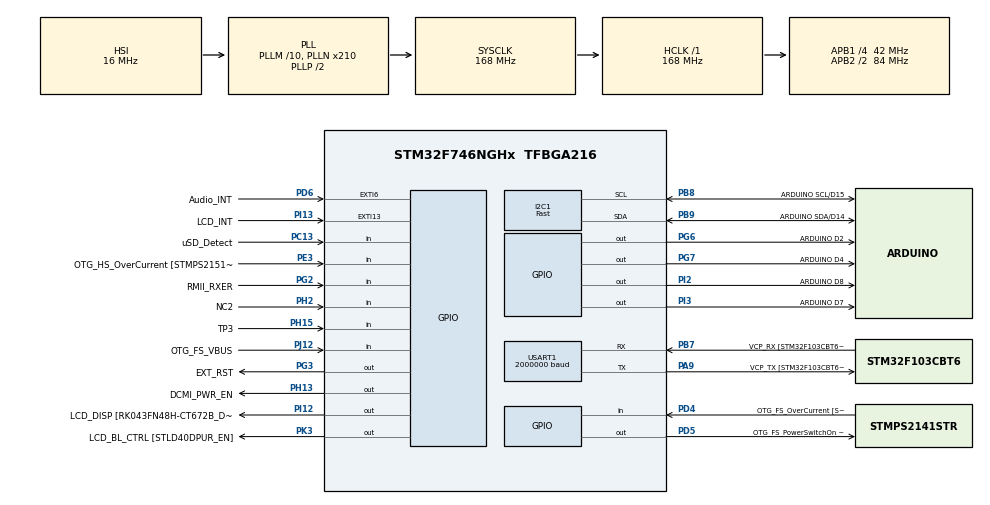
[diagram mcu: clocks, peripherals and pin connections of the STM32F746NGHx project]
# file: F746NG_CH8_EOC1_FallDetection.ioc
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I2C1.I2C_Speed_Mode=I2C_Fast
I2C1.Timing=0x0040154A
Mcu.Family=STM32F7
Mcu.Name=STM32F746NGHx
Mcu.Package=TFBGA216
NVIC.PriorityGroup=NVIC_PRIORITYGROUP_4
NVIC.TIM2_IRQn=true\:1\:0\:true\:false\:true\:true\:true
PA0/WKUP.GPIO_Label=ARDUINO A0
PA0/WKUP.GPIO_Mode=GPIO_MODE_ANALOG
PA0/WKUP.GPIO_PuPd=GPIO_NOPULL
PA0/WKUP.Signal=ADCx_IN0
PA1.GPIO_Label=RMII_REF_CLK [LAN8742A-CZ-TR_REFCLK0]
PA1.Signal=ETH_REF_CLK
PA10.GPIO_Label=OTG_FS_ID
PA10.Signal=USB_OTG_FS_ID
PA11.GPIO_Label=OTG_FS_N
PA11.Signal=USB_OTG_FS_DM
PA12.GPIO_Label=OTG_FS_P
PA12.Signal=USB_OTG_FS_DP
PA13.GPIO_Label=SWDIO
PA13.Signal=SYS_JTMS-SWDIO
PA14.GPIO_Label=SWCLK
PA14.Signal=SYS_JTCK-SWCLK
PA15.GPIO_Label=ARDUINO PWM/D9
PA15.GPIO_ModeDefaultPP=GPIO_MODE_AF_PP
PA15.GPIO_PuPd=GPIO_NOPULL
PA15.GPIO_Speed=GPIO_SPEED_FREQ_LOW
PA15.Signal=S_TIM2_CH1_ETR
PA2.GPIO_Label=RMII_MDIO [LAN8742A-CZ-TR_MDIO]
PA2.Signal=ETH_MDIO
PA3.GPIO_Label=ULPI_D0 [USB3320C-EZK_D0]
PA3.Signal=USB_OTG_HS_ULPI_D0
PA4.GPIO_Label=DCMI_HSYNC
PA4.Signal=DCMI_HSYNC
PA5.GPIO_Label=ULPI_CLK [USB3320C-EZK_CLKOUT]
PA5.Signal=USB_OTG_HS_ULPI_CK
PA6.Signal=DCMI_PIXCLK
PA7.GPIO_Label=RMII_CRS_DV [LAN8742A-CZ-TR_CRS_DV]
PA7.Signal=ETH_CRS_DV
PA8.GPIO_Label=ARDUINO PWM/D10
PA8.GPIO_ModeDefaultPP=GPIO_MODE_AF_PP
PA8.GPIO_PuPd=GPIO_NOPULL
PA8.GPIO_Speed=GPIO_SPEED_FREQ_LOW
PA8.Signal=S_TIM1_CH1
PA9.GPIO_Label=VCP_TX [STM32F103CBT6_PA3]
PA9.GPIO_Mode=GPIO_MODE_AF_PP
PA9.GPIO_PuPd=GPIO_NOPULL
PA9.GPIO_Speed=GPIO_SPEED_FREQ_LOW
PA9.Mode=Asynchronous
PA9.Signal=USART1_TX
PB0.GPIO_Label=ULPI_D1 [USB3320C-EZK_D1]
PB0.Signal=USB_OTG_HS_ULPI_D1
PB1.GPIO_Label=ULPI_D2 [USB3320C-EZK_D2]
PB1.Signal=USB_OTG_HS_ULPI_D2
PB10.GPIO_Label=ULPI_D3 [USB3320C-EZK_D3]
PB10.Signal=USB_OTG_HS_ULPI_D3
PB11.GPIO_Label=ULPI_D4 [USB3320C-EZK_D4]
PB11.Signal=USB_OTG_HS_ULPI_D4
PB12.GPIO_Label=ULPI_D5 [USB3320C-EZK_D5]
PB12.Signal=USB_OTG_HS_ULPI_D5
PB13.GPIO_Label=ULPI_D6 [USB3320C-EZK_D6]
PB13.Signal=USB_OTG_HS_ULPI_D6
PB14.GPIO_Label=ARDUINO MISO/D12
PB14.GPIO_Mode=GPIO_MODE_AF_PP
PB14.GPIO_PuPd=GPIO_NOPULL
PB14.GPIO_Speed=GPIO_SPEED_FREQ_LOW
PB14.Signal=SPI2_MISO
PB15.GPIO_Label=ARDUINO MOSI/PWM/D11
PB15.GPIO_Mode=GPIO_MODE_AF_PP
PB15.GPIO_PuPd=GPIO_NOPULL
PB15.GPIO_Speed=GPIO_SPEED_FREQ_LOW
PB15.Signal=SPI2_MOSI
PB2.Signal=QUADSPI_CLK
PB3.GPIO_Label=SWO
PB3.Signal=SYS_JTDO-SWO
PB4.GPIO_Label=ARDUINO PWM/D3
PB4.GPIO_ModeDefaultPP=GPIO_MODE_AF_PP
PB4.GPIO_PuPd=GPIO_NOPULL
PB4.GPIO_Speed=GPIO_SPEED_FREQ_LOW
PB4.Signal=S_TIM3_CH1
PB5.GPIO_Label=ULPI_D7 [USB3320C-EZK_D7]
PB5.Signal=USB_OTG_HS_ULPI_D7
PB6.GPIO_Label=QSPI_NCS [N25Q128A13EF840E_S]
PB6.Signal=QUADSPI_BK1_NCS
PB7.GPIO_Label=VCP_RX [STM32F103CBT6_PA2]
PB7.GPIO_Mode=GPIO_MODE_AF_PP
PB7.GPIO_PuPd=GPIO_NOPULL
PB7.GPIO_Speed=GPIO_SPEED_FREQ_LOW
PB7.Mode=Asynchronous
PB7.Signal=USART1_RX
PB8.GPIO_Label=ARDUINO SCL/D15
PB8.GPIO_Mode=GPIO_MODE_AF_OD
PB8.GPIO_PuPd=GPIO_NOPULL
PB8.GPIO_Speed=GPIO_SPEED_FREQ_LOW
PB8.Mode=I2C
PB8.Signal=I2C1_SCL
PB9.GPIO_Label=ARDUINO SDA/D14
PB9.GPIO_Mode=GPIO_MODE_AF_OD
PB9.GPIO_PuPd=GPIO_NOPULL
PB9.GPIO_Speed=GPIO_SPEED_FREQ_LOW
PB9.Mode=I2C
PB9.Signal=I2C1_SDA
PC0.GPIO_Label=ULPI_STP [USB3320C-EZK_STP]
PC0.Signal=USB_OTG_HS_ULPI_STP
PC1.GPIO_Label=RMII_MDC [LAN8742A-CZ-TR_MDC]
PC1.Signal=ETH_MDC
PC10.GPIO_Label=SDMMC_D2
PC10.Signal=SDMMC1_D2
PC11.GPIO_Label=SDMMC_D3
PC11.Signal=SDMMC1_D3
PC12.GPIO_Label=SDMMC_CK
PC12.Signal=SDMMC1_CK
PC13.GPIO_Label=uSD_Detect
PC13.Signal=GPIO_Input
PC14/OSC32_IN.GPIO_Label=RCC_OSC32_IN
PC14/OSC32_IN.Signal=RCC_OSC32_IN
PC15/OSC32_OUT.GPIO_Label=RCC_OSC32_OUT
PC15/OSC32_OUT.Signal=RCC_OSC32_OUT
PC2.GPIO_Label=ULPI_DIR [USB3320C-EZK_DIR]
PC2.Signal=USB_OTG_HS_ULPI_DIR
PC3.GPIO_Label=FMC_SDCKE0 [MT48LC4M32B2B5-6A_CKE]
PC3.Signal=FMC_SDCKE0
PC4.GPIO_Label=RMII_RXD0 [LAN8742A-CZ-TR_RXD0]
PC4.Signal=ETH_RXD0
PC5.GPIO_Label=RMII_RXD1 [LAN8742A-CZ-TR_RXD1]
PC5.Signal=ETH_RXD1
PC6.GPIO_Label=ARDUINO TX/D1
PC6.Signal=USART6_TX
PC7.GPIO_Label=ARDUINO RX/D0
PC7.Signal=USART6_RX
PC8.Signal=SDMMC1_D0
PC9.Signal=SDMMC1_D1
PD0.GPIO_Label=FMC_D2 [MT48LC4M32B2B5-6A_DQ2]
PD0.Signal=FMC_D2_DA2
PD1.GPIO_Label=FMC_D3 [MT48LC4M32B2B5-6A_DQ3]
PD1.Signal=FMC_D3_DA3
PD10.GPIO_Label=FMC_D15 [MT48LC4M32B2B5-6A_DQ15]
PD10.Signal=FMC_D15_DA15
PD11.GPIO_Label=QSPI_D0 [N25Q128A13EF840E_DQ0]
PD11.Signal=QUADSPI_BK1_IO0
PD12.GPIO_Label=QSPI_D1 [N25Q128A13EF840E_DQ1]
PD12.Signal=QUADSPI_BK1_IO1
PD13.GPIO_Label=QSPI_D3 [N25Q128A13EF840E_DQ3]
PD13.Signal=QUADSPI_BK1_IO3
PD14.GPIO_Label=FMC_D0 [MT48LC4M32B2B5-6A_DQ0]
PD14.Signal=FMC_D0_DA0
PD15.GPIO_Label=FMC_D1 [MT48LC4M32B2B5-6A_DQ1]
PD15.Signal=FMC_D1_DA1
PD2.GPIO_Label=SDMMC_D0
PD2.Signal=SDMMC1_CMD
PD3.GPIO_Label=DCMI_D5
PD3.Signal=DCMI_D5
PD4.GPIO_Label=OTG_FS_OverCurrent [STMPS2141STR_Fault]
PD4.Signal=GPIO_Input
PD5.GPIO_Label=OTG_FS_PowerSwitchOn [STMPS2141STR_EN]
PD5.PinState=GPIO_PIN_SET
PD5.Signal=GPIO_Output
PD6.GPIO_Label=Audio_INT
PD6.GPIO_ModeDefaultEXTI=GPIO_MODE_EVT_RISING
PD6.Signal=GPXTI6
PD7.GPIO_Label=SPDIF_RX0 [74LVC1G04SE_4]
PD7.Signal=SPDIFRX_IN0
PD8.GPIO_Label=FMC_D13 [MT48LC4M32B2B5-6A_DQ13]
PD8.Signal=FMC_D13_DA13
PD9.GPIO_Label=FMC_D14 [MT48LC4M32B2B5-6A_DQ14]
PD9.Signal=FMC_D14_DA14
PE0.GPIO_Label=FMC_NBL0 [MT48LC4M32B2B5-6A_DQM0]
PE0.Signal=FMC_NBL0
PE1.GPIO_Label=FMC_NBL1 [MT48LC4M32B2B5-6A_DQM1]
PE1.Signal=FMC_NBL1
PE10.GPIO_Label=FMC_D7 [MT48LC4M32B2B5-6A_DQ7]
PE10.Signal=FMC_D7_DA7
PE11.GPIO_Label=FMC_D8 [MT48LC4M32B2B5-6A_DQ8]
PE11.Signal=FMC_D8_DA8
PE12.GPIO_Label=FMC_D9 [MT48LC4M32B2B5-6A_DQ9]
PE12.Signal=FMC_D9_DA9
PE13.GPIO_Label=FMC_D10 [MT48LC4M32B2B5-6A_DQ10]
PE13.Signal=FMC_D10_DA10
PE14.GPIO_Label=FMC_D11 [MT48LC4M32B2B5-6A_DQ11]
PE14.Signal=FMC_D11_DA11
PE15.GPIO_Label=FMC_D12 [MT48LC4M32B2B5-6A_DQ12]
PE15.Signal=FMC_D12_DA12
PE2.GPIO_Label=QSPI_D2 [N25Q128A13EF840E_DQ2]
PE2.Signal=QUADSPI_BK1_IO2
PE3.GPIO_Label=OTG_HS_OverCurrent [STMPS2151STR_FAULT]
PE3.Signal=GPIO_Input
PE4.GPIO_Label=LCD_B0 [RK043FN48H-CT672B_B0]
PE4.Signal=LTDC_B0
PE5.GPIO_Label=DCMI_D6
PE5.Signal=DCMI_D6
PE6.GPIO_Label=DCMI_D7
PE6.Signal=DCMI_D7
PE7.GPIO_Label=FMC_D4 [MT48LC4M32B2B5-6A_DQ4]
PE7.Signal=FMC_D4_DA4
PE8.GPIO_Label=FMC_D5 [MT48LC4M32B2B5-6A_DQ5]
PE8.Signal=FMC_D5_DA5
PE9.GPIO_Label=FMC_D6 [MT48LC4M32B2B5-6A_DQ6]
PE9.Signal=FMC_D6_DA6
PF0.GPIO_Label=FMC_A0 [MT48LC4M32B2B5-6A_A0]
PF0.Signal=FMC_A0
PF1.GPIO_Label=FMC_A1 [MT48LC4M32B2B5-6A_A1]
PF1.Signal=FMC_A1
PF10.GPIO_Label=ARDUINO A1
PF10.GPIO_Mode=GPIO_MODE_ANALOG
PF10.GPIO_PuPd=GPIO_NOPULL
PF10.Signal=ADC3_IN8
PF11.GPIO_Label=FMC_SDNRAS [MT48LC4M32B2B5-6A_RAS]
PF11.Signal=FMC_SDNRAS
PF12.GPIO_Label=FMC_A6 [MT48LC4M32B2B5-6A_A6]
PF12.Signal=FMC_A6
PF13.GPIO_Label=FMC_A7 [MT48LC4M32B2B5-6A_A7]
PF13.Signal=FMC_A7
PF14.GPIO_Label=FMC_A8 [MT48LC4M32B2B5-6A_A8]
PF14.Signal=FMC_A8
PF15.GPIO_Label=FMC_A9 [MT48LC4M32B2B5-6A_A9]
PF15.Signal=FMC_A9
PF2.GPIO_Label=FMC_A2 [MT48LC4M32B2B5-6A_A2]
PF2.Signal=FMC_A2
PF3.GPIO_Label=FMC_A3 [MT48LC4M32B2B5-6A_A3]
PF3.Signal=FMC_A3
PF4.GPIO_Label=FMC_A4 [MT48LC4M32B2B5-6A_A4]
PF4.Signal=FMC_A4
PF5.GPIO_Label=FMC_A5 [MT48LC4M32B2B5-6A_A5]
PF5.Signal=FMC_A5
PF6.GPIO_Label=ARDUINO A5
PF6.GPIO_Mode=GPIO_MODE_ANALOG
PF6.GPIO_PuPd=GPIO_NOPULL
PF6.Signal=ADC3_IN4
PF7.GPIO_Label=ARDUINO A4
PF7.GPIO_Mode=GPIO_MODE_ANALOG
PF7.GPIO_PuPd=GPIO_NOPULL
PF7.Signal=ADC3_IN5
PF8.GPIO_Label=ARDUINO A3
PF8.GPIO_Mode=GPIO_MODE_ANALOG
PF8.GPIO_PuPd=GPIO_NOPULL
PF8.Signal=ADC3_IN6
PF9.GPIO_Label=ARDUINO A2
PF9.GPIO_Mode=GPIO_MODE_ANALOG
PF9.GPIO_PuPd=GPIO_NOPULL
PF9.Signal=ADC3_IN7
PG0.GPIO_Label=FMC_A10 [MT48LC4M32B2B5-6A_A10]
PG0.Signal=FMC_A10
PG1.GPIO_Label=FMC_A11 [MT48LC4M32B2B5-6A_A11]
PG1.Signal=FMC_A11
PG10.GPIO_Label=SAI2_SDB [WM8994ECS/R_ADCDAT1]
PG10.Signal=SAI2_SD_B
PG11.GPIO_Label=RMII_TX_EN [LAN8742A-CZ-TR_TXEN]
PG11.Signal=ETH_TX_EN
PG12.GPIO_Label=LCD_B4 [RK043FN48H-CT672B_B4]
PG12.Signal=LTDC_B4
PG13.GPIO_Label=RMII_TXD0 [LAN8742A-CZ-TR_TXD0]
PG13.Signal=ETH_TXD0
PG14.GPIO_Label=RMII_TXD1 [LAN8742A-CZ-TR_TXD1]
PG14.Signal=ETH_TXD1
PG15.GPIO_Label=FMC_SDNCAS [MT48LC4M32B2B5-6A_CAS]
PG15.Signal=FMC_SDNCAS
PG2.GPIO_Label=RMII_RXER
PG2.Signal=GPIO_Input
PG3.GPIO_Label=EXT_RST
PG3.Signal=GPIO_Output
PG4.GPIO_Label=FMC_BA0 [MT48LC4M32B2B5-6A_BA0]
PG4.Signal=FMC_A14_BA0
PG5.GPIO_Label=FMC_BA1 [MT48LC4M32B2B5-6A_BA1]
PG5.Signal=FMC_A15_BA1
PG6.GPIO_Label=ARDUINO D2
PG6.Signal=GPIO_Output
PG7.GPIO_Label=ARDUINO D4
PG7.Signal=GPIO_Output
PG8.GPIO_Label=FMC_SDCLK [MT48LC4M32B2B5-6A_CLK]
PG8.Signal=FMC_SDCLK
PG9.GPIO_Label=DCMI_VSYNC
PG9.Signal=DCMI_VSYNC
PH0/OSC_IN.GPIO_Label=OSC_25M [NZ2520SB-25.00M_OUT]
PH0/OSC_IN.Signal=RCC_OSC_IN
PH1/OSC_OUT.Signal=RCC_OSC_OUT
PH10.GPIO_Label=DCMI_D1
PH10.Signal=DCMI_D1
PH11.GPIO_Label=DCMI_D2
PH11.Signal=DCMI_D2
PH12.GPIO_Label=DCMI_D3
PH12.Signal=DCMI_D3
PH13.GPIO_Label=DCMI_PWR_EN
PH13.Signal=GPIO_Output
PH14.GPIO_Label=DCMI_D4
PH14.Signal=DCMI_D4
PH15.GPIO_Label=TP3
PH15.Signal=GPIO_Input
PH2.GPIO_Label=NC2
PH2.Signal=GPIO_Input
PH3.GPIO_Label=FMC_SDNE0 [MT48LC4M32B2B5-6A_CS]
PH3.Signal=FMC_SDNE0
PH4.GPIO_Label=ULPI_NXT [USB3320C-EZK_NXT]
PH4.Signal=USB_OTG_HS_ULPI_NXT
PH5.GPIO_Label=FMC_SDNME [MT48LC4M32B2B5-6A_WE]
PH5.Signal=FMC_SDNWE
PH6.GPIO_Label=ARDUINO PWM/D6
PH6.Signal=S_TIM12_CH1
PH7.GPIO_Label=LCD_SCL [RK043FN48H-CT672B_SCL]
PH7.Signal=I2C3_SCL
PH8.GPIO_Label=LCD_SDA [RK043FN48H-CT672B_SDA]
PH8.Signal=I2C3_SDA
PH9.GPIO_Label=DCMI_D0
PH9.Signal=DCMI_D0
PI0.GPIO_Label=ARDUINO PWM/CS/D5
PI0.GPIO_ModeDefaultPP=GPIO_MODE_AF_PP
PI0.GPIO_PuPd=GPIO_NOPULL
PI0.GPIO_Speed=GPIO_SPEED_FREQ_LOW
PI0.Signal=S_TIM5_CH4
PI1.GPIO_Label=ARDUINO SCK/D13
PI1.GPIO_Mode=GPIO_MODE_AF_PP
PI1.GPIO_PuPd=GPIO_NOPULL
PI1.GPIO_Speed=GPIO_SPEED_FREQ_LOW
PI1.Signal=SPI2_SCK
PI10.GPIO_Label=LCD_HSYNC [RK043FN48H-CT672B_HSYNC]
PI10.Signal=LTDC_HSYNC
PI12.GPIO_Label=LCD_DISP [RK043FN48H-CT672B_DISP] 
PI12.Signal=GPIO_Output
PI13.GPIO_Label=LCD_INT
PI13.GPIO_ModeDefaultEXTI=GPIO_MODE_EVT_RISING
PI13.Signal=GPXTI13
PI14.GPIO_Label=LCD_CLK [RK043FN48H-CT672B_CLK]
PI14.Signal=LTDC_CLK
PI15.GPIO_Label=LCD_R0 [RK043FN48H-CT672B_R0]
PI15.Signal=LTDC_R0
PI2.GPIO_Label=ARDUINO D8
PI2.Signal=GPIO_Output
PI3.GPIO_Label=ARDUINO D7
PI3.Signal=GPIO_Output
PI4.GPIO_Label=SAI2_MCLKA [WM8994ECS/R_MCLK1]
PI4.Signal=SAI2_MCLK_A
PI5.GPIO_Label=SAI2_SCKA [WM8994ECS/R_BCLK1]
PI5.Signal=SAI2_SCK_A
PI6.GPIO_Label=SAI2_SDA [WM8994ECS/R_DACDAT1]
PI6.Signal=SAI2_SD_A
PI7.GPIO_Label=SAI2_FSA [WM8994ECS/R_LRCLK1]
PI7.Signal=SAI2_FS_A
PI8.GPIO_Label=NC1 [TP2]
PI8.Signal=RTC_TS
PI9.GPIO_Label=LCD_VSYNC [RK043FN48H-CT672B_VSYNC]
PI9.Signal=LTDC_VSYNC
PJ0.GPIO_Label=LCD_R1 [RK043FN48H-CT672B_R1]
PJ0.Signal=LTDC_R1
PJ1.GPIO_Label=LCD_R2 [RK043FN48H-CT672B_R2]
PJ1.Signal=LTDC_R2
PJ10.GPIO_Label=LCD_G3 [RK043FN48H-CT672B_G3]
PJ10.Signal=LTDC_G3
PJ11.GPIO_Label=LCD_G4 [RK043FN48H-CT672B_G4]
PJ11.Signal=LTDC_G4
PJ12.GPIO_Label=OTG_FS_VBUS
PJ12.Signal=GPIO_Input
PJ13.GPIO_Label=LCD_B1 [RK043FN48H-CT672B_B1]
PJ13.Signal=LTDC_B1
PJ14.GPIO_Label=LCD_B2 [RK043FN48H-CT672B_B2]
PJ14.Signal=LTDC_B2
PJ15.GPIO_Label=LCD_B3 [RK043FN48H-CT672B_B3]
PJ15.Signal=LTDC_B3
PJ2.GPIO_Label=LCD_R3 [RK043FN48H-CT672B_R3]
PJ2.Signal=LTDC_R3
PJ3.GPIO_Label=LCD_R4 [RK043FN48H-CT672B_R4]
PJ3.Signal=LTDC_R4
PJ4.GPIO_Label=LCD_R5 [RK043FN48H-CT672B_R5]
PJ4.Signal=LTDC_R5
PJ5.GPIO_Label=LCD_R6 [RK043FN48H-CT672B_R6]
PJ5.Signal=LTDC_R6
PJ6.GPIO_Label=LCD_R7 [RK043FN48H-CT672B_R7]
PJ6.Signal=LTDC_R7
PJ7.GPIO_Label=LCD_G0 [RK043FN48H-CT672B_G0]
PJ7.Signal=LTDC_G0
PJ8.GPIO_Label=LCD_G1 [RK043FN48H-CT672B_G1]
PJ8.Signal=LTDC_G1
PJ9.GPIO_Label=LCD_G2 [RK043FN48H-CT672B_G2]
PJ9.Signal=LTDC_G2
PK0.GPIO_Label=LCD_G5 [RK043FN48H-CT672B_G5]
PK0.Signal=LTDC_G5
PK1.GPIO_Label=LCD_G6 [RK043FN48H-CT672B_G6]
PK1.Signal=LTDC_G6
PK2.GPIO_Label=LCD_G7 [RK043FN48H-CT672B_G7]
PK2.Signal=LTDC_G7
PK3.GPIO_Label=LCD_BL_CTRL [STLD40DPUR_EN]
PK3.Signal=GPIO_Output
PK4.GPIO_Label=LCD_B5 [RK043FN48H-CT672B_B5]
PK4.Signal=LTDC_B5
PK5.GPIO_Label=LCD_B6 [RK043FN48H-CT672B_B6]
PK5.Signal=LTDC_B6
PK6.GPIO_Label=LCD_B7 [RK043FN48H-CT672B_B7]
PK6.Signal=LTDC_B7
PK7.GPIO_Label=LCD_DE [RK043FN48H-CT672B_DE]
PK7.Signal=LTDC_DE
ProjectManager.HeapSize=0x200
ProjectManager.StackSize=0x400
ProjectManager.TargetToolchain=STM32CubeIDE
RCC.AHBFreq_Value=168000000
RCC.APB1CLKDivider=RCC_HCLK_DIV4
RCC.APB1Freq_Value=42000000
RCC.APB1TimFreq_Value=84000000
RCC.APB2CLKDivider=RCC_HCLK_DIV2
RCC.APB2Freq_Value=84000000
RCC.APB2TimFreq_Value=168000000
RCC.CortexFreq_Value=168000000
RCC.HCLKFreq_Value=168000000
RCC.HSE_VALUE=25000000
RCC.HSI_VALUE=16000000
RCC.LSE_VALUE=32768
RCC.PLLM=10
RCC.PLLN=210
RCC.PLLSourceVirtual=RCC_PLLSOURCE_HSI
RCC.SYSCLKFreq_VALUE=168000000
RCC.SYSCLKSource=RCC_SYSCLKSOURCE_PLLCLK
RCC.USBFreq_Value=168000000
RCC.VCOOutputFreq_Value=336000000
SH.ADCx_IN0.0=ADC3_IN0
SH.FMC_A0.0=FMC_A0
SH.FMC_A1.0=FMC_A1
SH.FMC_A10.0=FMC_A10
SH.FMC_A11.0=FMC_A11
SH.FMC_A14_BA0.0=FMC_BA0
SH.FMC_A15_BA1.0=FMC_BA1
SH.FMC_A2.0=FMC_A2
SH.FMC_A3.0=FMC_A3
SH.FMC_A4.0=FMC_A4
SH.FMC_A5.0=FMC_A5
SH.FMC_A6.0=FMC_A6
SH.FMC_A7.0=FMC_A7
SH.FMC_A8.0=FMC_A8
SH.FMC_A9.0=FMC_A9
SH.FMC_D0_DA0.0=FMC_D0
SH.FMC_D10_DA10.0=FMC_D10
SH.FMC_D11_DA11.0=FMC_D11
SH.FMC_D12_DA12.0=FMC_D12
SH.FMC_D13_DA13.0=FMC_D13
SH.FMC_D14_DA14.0=FMC_D14
SH.FMC_D15_DA15.0=FMC_D15
SH.FMC_D1_DA1.0=FMC_D1
SH.FMC_D2_DA2.0=FMC_D2
SH.FMC_D3_DA3.0=FMC_D3
SH.FMC_D4_DA4.0=FMC_D4
SH.FMC_D5_DA5.0=FMC_D5
SH.FMC_D6_DA6.0=FMC_D6
SH.FMC_D7_DA7.0=FMC_D7
SH.FMC_D8_DA8.0=FMC_D8
SH.FMC_D9_DA9.0=FMC_D9
SH.FMC_NBL0.0=FMC_NBL0
SH.FMC_NBL1.0=FMC_NBL1
SH.FMC_SDCLK.0=FMC_SDCLK
SH.FMC_SDNCAS.0=FMC_SDNCAS
SH.FMC_SDNRAS.0=FMC_SDNRAS
SH.FMC_SDNWE.0=FMC_SDNWE
SH.S_TIM12_CH1.0=TIM12_CH1
SH.S_TIM1_CH1.0=TIM1_CH1
SH.S_TIM2_CH1_ETR.0=TIM2_CH1
SH.S_TIM3_CH1.0=TIM3_CH1
SH.S_TIM5_CH4.0=TIM5_CH4
TIM2.Period=19999
TIM2.Prescaler=83
USART1.BaudRate=2000000
USART1.VirtualMode-Asynchronous=VM_ASYNC
VP_TIM2_VS_ClockSourceINT.Mode=Internal
board=STM32F746G-DISCO

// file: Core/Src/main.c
/* USER CODE BEGIN Header */
/**
  ******************************************************************************
  * @file           : main.c
  * @brief          : Main program body
  ******************************************************************************
  * @attention
  *
  * Copyright (c) 2024 STMicroelectronics.
  * All rights reserved.
  *
  * This software is licensed under terms that can be found in the LICENSE file
  * in the root directory of this software component.
  * If no LICENSE file comes with this software, it is provided AS-IS.
  *
  ******************************************************************************
  */
/* USER CODE END Header */
#include "main.h"

/* USER CODE BEGIN Includes */
#include "lib_bno055.h"
#include "lib_serial.h"
#include "har_feature_extraction.h"
#include "dbscan_clus_inference.h"
/* USER CODE END Includes */

I2C_HandleTypeDef hi2c1;

TIM_HandleTypeDef htim2;

UART_HandleTypeDef huart1;

void SystemClock_Config(void);
static void MX_GPIO_Init(void);
static void MX_I2C1_Init(void);
static void MX_TIM2_Init(void);
static void MX_USART1_UART_Init(void);

/* USER CODE BEGIN 0 */
#define SIZE_INPUT	VECTOR_LEN

HAR_FtrExtOutput features;

volatile uint32_t counter = 0, startTick = 0, stopTick = 0;
volatile uint8_t isDataReady = 0;
float accel[3][SIZE_INPUT] = {0};

void HAL_TIM_PeriodElapsedCallback(TIM_HandleTypeDef *htim)
{
	if (htim->Instance == htim2.Instance)
	{
		float accel_[3] = {0};
		LIB_BNO055_ReadAccelXYZ(&accel_[0], &accel_[1], &accel_[2]);
		for (uint32_t i = 0; i < 3; ++i)
		{
			accel[0][counter] = accel_[0]/100;
			accel[1][counter] = accel_[1]/100;
			accel[2][counter] = accel_[2]/100;
		}
		counter = counter + 1;
		if (counter >= SIZE_INPUT)
		{
			isDataReady = 1;
			counter = 0;
		}

	}
}
/* USER CODE END 0 */

int main(void)
{

  /* MCU Configuration--------------------------------------------------------*/

  /* Reset of all peripherals, Initializes the Flash interface and the Systick. */
  HAL_Init();

  /* Configure the system clock */
  SystemClock_Config();

  /* Initialize all configured peripherals */
  MX_GPIO_Init();
  MX_I2C1_Init();
  MX_TIM2_Init();
  MX_USART1_UART_Init();
  /* USER CODE BEGIN 2 */
  LIB_BNO055_Init();
  HAL_TIM_Base_Start_IT(&htim2);

  /* USER CODE END 2 */

  /* Infinite loop */
  while (1)
  {

    /* USER CODE BEGIN 3 */
	if (isDataReady == 1)
	{
		isDataReady = 0;

		/*RUN INFERENCE ON MCU*/
		har_extract_features(accel, &features);

		/*NORMALIZE FEATURES*/
		for (uint32_t i = 0; i < 10; ++i)
		{
			float32_t *__ftr = (float*)(&features);
			__ftr[i] = (__ftr[i] - MEANS[i])/STDDEV[i] ;

		}

		/*SEND AUDIO DATA TO PC*/
		LIB_SERIAL_Transmit(&features, sizeof(features)/sizeof(float), TYPE_F32);

		/*CLUSTER FEATURES DBSCAN*/
		int32_t output = 0;
		dbscan_clus_predict((float*)&features, &output);

		/*SEND INFERENCE RESULTS TO PC*/
		LIB_SERIAL_Transmit(&output, sizeof(output)/sizeof(float), TYPE_S32);
	}
  }
  /* USER CODE END 3 */
}

void SystemClock_Config(void)
{
  RCC_OscInitTypeDef RCC_OscInitStruct = {0};
  RCC_ClkInitTypeDef RCC_ClkInitStruct = {0};

  /** Configure the main internal regulator output voltage
  */
  __HAL_RCC_PWR_CLK_ENABLE();
  __HAL_PWR_VOLTAGESCALING_CONFIG(PWR_REGULATOR_VOLTAGE_SCALE2);
  /** Initializes the RCC Oscillators according to the specified parameters
  * in the RCC_OscInitTypeDef structure.
  */
  RCC_OscInitStruct.OscillatorType = RCC_OSCILLATORTYPE_HSI;
  RCC_OscInitStruct.HSIState = RCC_HSI_ON;
  RCC_OscInitStruct.HSICalibrationValue = RCC_HSICALIBRATION_DEFAULT;
  RCC_OscInitStruct.PLL.PLLState = RCC_PLL_ON;
  RCC_OscInitStruct.PLL.PLLSource = RCC_PLLSOURCE_HSI;
  RCC_OscInitStruct.PLL.PLLM = 10;
  RCC_OscInitStruct.PLL.PLLN = 210;
  RCC_OscInitStruct.PLL.PLLP = RCC_PLLP_DIV2;
  RCC_OscInitStruct.PLL.PLLQ = 2;
  if (HAL_RCC_OscConfig(&RCC_OscInitStruct) != HAL_OK)
  {
    Error_Handler();
  }
  /** Initializes the CPU, AHB and APB buses clocks
  */
  RCC_ClkInitStruct.ClockType = RCC_CLOCKTYPE_HCLK|RCC_CLOCKTYPE_SYSCLK
                              |RCC_CLOCKTYPE_PCLK1|RCC_CLOCKTYPE_PCLK2;
  RCC_ClkInitStruct.SYSCLKSource = RCC_SYSCLKSOURCE_PLLCLK;
  RCC_ClkInitStruct.AHBCLKDivider = RCC_SYSCLK_DIV1;
  RCC_ClkInitStruct.APB1CLKDivider = RCC_HCLK_DIV4;
  RCC_ClkInitStruct.APB2CLKDivider = RCC_HCLK_DIV2;

  if (HAL_RCC_ClockConfig(&RCC_ClkInitStruct, FLASH_LATENCY_5) != HAL_OK)
  {
    Error_Handler();
  }
}

static void MX_I2C1_Init(void)
{

  hi2c1.Instance = I2C1;
  hi2c1.Init.Timing = 0x0040154A;
  hi2c1.Init.OwnAddress1 = 0;
  hi2c1.Init.AddressingMode = I2C_ADDRESSINGMODE_7BIT;
  hi2c1.Init.DualAddressMode = I2C_DUALADDRESS_DISABLE;
  hi2c1.Init.OwnAddress2 = 0;
  hi2c1.Init.OwnAddress2Masks = I2C_OA2_NOMASK;
  hi2c1.Init.GeneralCallMode = I2C_GENERALCALL_DISABLE;
  hi2c1.Init.NoStretchMode = I2C_NOSTRETCH_DISABLE;
  if (HAL_I2C_Init(&hi2c1) != HAL_OK)
  {
    Error_Handler();
  }
  /** Configure Analogue filter
  */
  if (HAL_I2CEx_ConfigAnalogFilter(&hi2c1, I2C_ANALOGFILTER_ENABLE) != HAL_OK)
  {
    Error_Handler();
  }
  /** Configure Digital filter
  */
  if (HAL_I2CEx_ConfigDigitalFilter(&hi2c1, 0) != HAL_OK)
  {
    Error_Handler();
  }

}

static void MX_TIM2_Init(void)
{

  TIM_ClockConfigTypeDef sClockSourceConfig = {0};
  TIM_MasterConfigTypeDef sMasterConfig = {0};

  htim2.Instance = TIM2;
  htim2.Init.Prescaler = 83;
  htim2.Init.CounterMode = TIM_COUNTERMODE_UP;
  htim2.Init.Period = 19999;
  htim2.Init.ClockDivision = TIM_CLOCKDIVISION_DIV1;
  htim2.Init.AutoReloadPreload = TIM_AUTORELOAD_PRELOAD_DISABLE;
  if (HAL_TIM_Base_Init(&htim2) != HAL_OK)
  {
    Error_Handler();
  }
  sClockSourceConfig.ClockSource = TIM_CLOCKSOURCE_INTERNAL;
  if (HAL_TIM_ConfigClockSource(&htim2, &sClockSourceConfig) != HAL_OK)
  {
    Error_Handler();
  }
  sMasterConfig.MasterOutputTrigger = TIM_TRGO_RESET;
  sMasterConfig.MasterSlaveMode = TIM_MASTERSLAVEMODE_DISABLE;
  if (HAL_TIMEx_MasterConfigSynchronization(&htim2, &sMasterConfig) != HAL_OK)
  {
    Error_Handler();
  }

}

static void MX_USART1_UART_Init(void)
{

  huart1.Instance = USART1;
  huart1.Init.BaudRate = 2000000;
  huart1.Init.WordLength = UART_WORDLENGTH_8B;
  huart1.Init.StopBits = UART_STOPBITS_1;
  huart1.Init.Parity = UART_PARITY_NONE;
  huart1.Init.Mode = UART_MODE_TX_RX;
  huart1.Init.HwFlowCtl = UART_HWCONTROL_NONE;
  huart1.Init.OverSampling = UART_OVERSAMPLING_16;
  huart1.Init.OneBitSampling = UART_ONE_BIT_SAMPLE_DISABLE;
  huart1.AdvancedInit.AdvFeatureInit = UART_ADVFEATURE_NO_INIT;
  if (HAL_UART_Init(&huart1) != HAL_OK)
  {
    Error_Handler();
  }

}

static void MX_GPIO_Init(void)
{
  GPIO_InitTypeDef GPIO_InitStruct = {0};

  /* GPIO Ports Clock Enable */
  __HAL_RCC_GPIOE_CLK_ENABLE();
  __HAL_RCC_GPIOG_CLK_ENABLE();
  __HAL_RCC_GPIOB_CLK_ENABLE();
  __HAL_RCC_GPIOD_CLK_ENABLE();
  __HAL_RCC_GPIOC_CLK_ENABLE();
  __HAL_RCC_GPIOA_CLK_ENABLE();
  __HAL_RCC_GPIOJ_CLK_ENABLE();
  __HAL_RCC_GPIOI_CLK_ENABLE();
  __HAL_RCC_GPIOK_CLK_ENABLE();
  __HAL_RCC_GPIOF_CLK_ENABLE();
  __HAL_RCC_GPIOH_CLK_ENABLE();

  /*Configure GPIO pin Output Level */
  HAL_GPIO_WritePin(OTG_FS_PowerSwitchOn_GPIO_Port, OTG_FS_PowerSwitchOn_Pin, GPIO_PIN_SET);

  /*Configure GPIO pin Output Level */
  HAL_GPIO_WritePin(GPIOI, ARDUINO_D7_Pin|ARDUINO_D8_Pin|LCD_DISP_Pin, GPIO_PIN_RESET);

  /*Configure GPIO pin Output Level */
  HAL_GPIO_WritePin(LCD_BL_CTRL_GPIO_Port, LCD_BL_CTRL_Pin, GPIO_PIN_RESET);

  /*Configure GPIO pin Output Level */
  HAL_GPIO_WritePin(DCMI_PWR_EN_GPIO_Port, DCMI_PWR_EN_Pin, GPIO_PIN_RESET);

  /*Configure GPIO pin Output Level */
  HAL_GPIO_WritePin(GPIOG, ARDUINO_D4_Pin|ARDUINO_D2_Pin|EXT_RST_Pin, GPIO_PIN_RESET);

  /*Configure GPIO pin : LCD_B0_Pin */
  GPIO_InitStruct.Pin = LCD_B0_Pin;
  GPIO_InitStruct.Mode = GPIO_MODE_AF_PP;
  GPIO_InitStruct.Pull = GPIO_NOPULL;
  GPIO_InitStruct.Speed = GPIO_SPEED_FREQ_LOW;
  GPIO_InitStruct.Alternate = GPIO_AF14_LTDC;
  HAL_GPIO_Init(LCD_B0_GPIO_Port, &GPIO_InitStruct);

  /*Configure GPIO pin : OTG_HS_OverCurrent_Pin */
  GPIO_InitStruct.Pin = OTG_HS_OverCurrent_Pin;
  GPIO_InitStruct.Mode = GPIO_MODE_INPUT;
  GPIO_InitStruct.Pull = GPIO_NOPULL;
  HAL_GPIO_Init(OTG_HS_OverCurrent_GPIO_Port, &GPIO_InitStruct);

  /*Configure GPIO pin : QSPI_D2_Pin */
  GPIO_InitStruct.Pin = QSPI_D2_Pin;
  GPIO_InitStruct.Mode = GPIO_MODE_AF_PP;
  GPIO_InitStruct.Pull = GPIO_NOPULL;
  GPIO_InitStruct.Speed = GPIO_SPEED_FREQ_VERY_HIGH;
  GPIO_InitStruct.Alternate = GPIO_AF9_QUADSPI;
  HAL_GPIO_Init(QSPI_D2_GPIO_Port, &GPIO_InitStruct);

  /*Configure GPIO pins : RMII_TXD1_Pin RMII_TXD0_Pin RMII_TX_EN_Pin */
  GPIO_InitStruct.Pin = RMII_TXD1_Pin|RMII_TXD0_Pin|RMII_TX_EN_Pin;
  GPIO_InitStruct.Mode = GPIO_MODE_AF_PP;
  GPIO_InitStruct.Pull = GPIO_NOPULL;
  GPIO_InitStruct.Speed = GPIO_SPEED_FREQ_VERY_HIGH;
  GPIO_InitStruct.Alternate = GPIO_AF11_ETH;
  HAL_GPIO_Init(GPIOG, &GPIO_InitStruct);

  /*Configure GPIO pins : FMC_NBL1_Pin FMC_NBL0_Pin FMC_D5_Pin FMC_D6_Pin
                           FMC_D8_Pin FMC_D11_Pin FMC_D4_Pin FMC_D7_Pin
                           FMC_D9_Pin FMC_D12_Pin FMC_D10_Pin */
  GPIO_InitStruct.Pin = FMC_NBL1_Pin|FMC_NBL0_Pin|FMC_D5_Pin|FMC_D6_Pin
                          |FMC_D8_Pin|FMC_D11_Pin|FMC_D4_Pin|FMC_D7_Pin
                          |FMC_D9_Pin|FMC_D12_Pin|FMC_D10_Pin;
  GPIO_InitStruct.Mode = GPIO_MODE_AF_PP;
  GPIO_InitStruct.Pull = GPIO_NOPULL;
  GPIO_InitStruct.Speed = GPIO_SPEED_FREQ_VERY_HIGH;
  GPIO_InitStruct.Alternate = GPIO_AF12_FMC;
  HAL_GPIO_Init(GPIOE, &GPIO_InitStruct);

  /*Configure GPIO pins : ULPI_D7_Pin ULPI_D6_Pin ULPI_D5_Pin ULPI_D3_Pin
                           ULPI_D2_Pin ULPI_D1_Pin ULPI_D4_Pin */
  GPIO_InitStruct.Pin = ULPI_D7_Pin|ULPI_D6_Pin|ULPI_D5_Pin|ULPI_D3_Pin
                          |ULPI_D2_Pin|ULPI_D1_Pin|ULPI_D4_Pin;
  GPIO_InitStruct.Mode = GPIO_MODE_AF_PP;
  GPIO_InitStruct.Pull = GPIO_NOPULL;
  GPIO_InitStruct.Speed = GPIO_SPEED_FREQ_VERY_HIGH;
  GPIO_InitStruct.Alternate = GPIO_AF10_OTG_HS;
  HAL_GPIO_Init(GPIOB, &GPIO_InitStruct);

  /*Configure GPIO pin : ARDUINO_PWM_D3_Pin */
  GPIO_InitStruct.Pin = ARDUINO_PWM_D3_Pin;
  GPIO_InitStruct.Mode = GPIO_MODE_AF_PP;
  GPIO_InitStruct.Pull = GPIO_NOPULL;
  GPIO_InitStruct.Speed = GPIO_SPEED_FREQ_LOW;
  GPIO_InitStruct.Alternate = GPIO_AF2_TIM3;
  HAL_GPIO_Init(ARDUINO_PWM_D3_GPIO_Port, &GPIO_InitStruct);

  /*Configure GPIO pin : SPDIF_RX0_Pin */
  GPIO_InitStruct.Pin = SPDIF_RX0_Pin;
  GPIO_InitStruct.Mode = GPIO_MODE_AF_PP;
  GPIO_InitStruct.Pull = GPIO_NOPULL;
  GPIO_InitStruct.Speed = GPIO_SPEED_FREQ_LOW;
  GPIO_InitStruct.Alternate = GPIO_AF8_SPDIFRX;
  HAL_GPIO_Init(SPDIF_RX0_GPIO_Port, &GPIO_InitStruct);

  /*Configure GPIO pins : SDMMC_CK_Pin SDMMC_D3_Pin SDMMC_D2_Pin PC9
                           PC8 */
  GPIO_InitStruct.Pin = SDMMC_CK_Pin|SDMMC_D3_Pin|SDMMC_D2_Pin|GPIO_PIN_9
                          |GPIO_PIN_8;
  GPIO_InitStruct.Mode = GPIO_MODE_AF_PP;
  GPIO_InitStruct.Pull = GPIO_NOPULL;
  GPIO_InitStruct.Speed = GPIO_SPEED_FREQ_VERY_HIGH;
  GPIO_InitStruct.Alternate = GPIO_AF12_SDMMC1;
  HAL_GPIO_Init(GPIOC, &GPIO_InitStruct);

  /*Configure GPIO pins : DCMI_D6_Pin DCMI_D7_Pin */
  GPIO_InitStruct.Pin = DCMI_D6_Pin|DCMI_D7_Pin;
  GPIO_InitStruct.Mode = GPIO_MODE_AF_PP;
  GPIO_InitStruct.Pull = GPIO_NOPULL;
  GPIO_InitStruct.Speed = GPIO_SPEED_FREQ_LOW;
  GPIO_InitStruct.Alternate = GPIO_AF13_DCMI;
  HAL_GPIO_Init(GPIOE, &GPIO_InitStruct);

  /*Configure GPIO pin : QSPI_NCS_Pin */
  GPIO_InitStruct.Pin = QSPI_NCS_Pin;
  GPIO_InitStruct.Mode = GPIO_MODE_AF_PP;
  GPIO_InitStruct.Pull = GPIO_NOPULL;
  GPIO_InitStruct.Speed = GPIO_SPEED_FREQ_VERY_HIGH;
  GPIO_InitStruct.Alternate = GPIO_AF10_QUADSPI;
  HAL_GPIO_Init(QSPI_NCS_GPIO_Port, &GPIO_InitStruct);

  /*Configure GPIO pins : FMC_SDNCAS_Pin FMC_SDCLK_Pin FMC_A11_Pin FMC_A10_Pin
                           FMC_BA1_Pin FMC_BA0_Pin */
  GPIO_InitStruct.Pin = FMC_SDNCAS_Pin|FMC_SDCLK_Pin|FMC_A11_Pin|FMC_A10_Pin
                          |FMC_BA1_Pin|FMC_BA0_Pin;
  GPIO_InitStruct.Mode = GPIO_MODE_AF_PP;
  GPIO_InitStruct.Pull = GPIO_NOPULL;
  GPIO_InitStruct.Speed = GPIO_SPEED_FREQ_VERY_HIGH;
  GPIO_InitStruct.Alternate = GPIO_AF12_FMC;
  HAL_GPIO_Init(GPIOG, &GPIO_InitStruct);

  /*Configure GPIO pins : LCD_B1_Pin LCD_B2_Pin LCD_B3_Pin LCD_G4_Pin
                           LCD_G1_Pin LCD_G3_Pin LCD_G0_Pin LCD_G2_Pin
                           LCD_R7_Pin LCD_R5_Pin LCD_R6_Pin LCD_R4_Pin
                           LCD_R3_Pin LCD_R1_Pin LCD_R2_Pin */
  GPIO_InitStruct.Pin = LCD_B1_Pin|LCD_B2_Pin|LCD_B3_Pin|LCD_G4_Pin
                          |LCD_G1_Pin|LCD_G3_Pin|LCD_G0_Pin|LCD_G2_Pin
                          |LCD_R7_Pin|LCD_R5_Pin|LCD_R6_Pin|LCD_R4_Pin
                          |LCD_R3_Pin|LCD_R1_Pin|LCD_R2_Pin;
  GPIO_InitStruct.Mode = GPIO_MODE_AF_PP;
  GPIO_InitStruct.Pull = GPIO_NOPULL;
  GPIO_InitStruct.Speed = GPIO_SPEED_FREQ_LOW;
  GPIO_InitStruct.Alternate = GPIO_AF14_LTDC;
  HAL_GPIO_Init(GPIOJ, &GPIO_InitStruct);

  /*Configure GPIO pin : OTG_FS_VBUS_Pin */
  GPIO_InitStruct.Pin = OTG_FS_VBUS_Pin;
  GPIO_InitStruct.Mode = GPIO_MODE_INPUT;
  GPIO_InitStruct.Pull = GPIO_NOPULL;
  HAL_GPIO_Init(OTG_FS_VBUS_GPIO_Port, &GPIO_InitStruct);

  /*Configure GPIO pin : Audio_INT_Pin */
  GPIO_InitStruct.Pin = Audio_INT_Pin;
  GPIO_InitStruct.Mode = GPIO_MODE_EVT_RISING;
  GPIO_InitStruct.Pull = GPIO_NOPULL;
  HAL_GPIO_Init(Audio_INT_GPIO_Port, &GPIO_InitStruct);

  /*Configure GPIO pins : FMC_D2_Pin FMC_D3_Pin FMC_D1_Pin FMC_D15_Pin
                           FMC_D0_Pin FMC_D14_Pin FMC_D13_Pin */
  GPIO_InitStruct.Pin = FMC_D2_Pin|FMC_D3_Pin|FMC_D1_Pin|FMC_D15_Pin
                          |FMC_D0_Pin|FMC_D14_Pin|FMC_D13_Pin;
  GPIO_InitStruct.Mode = GPIO_MODE_AF_PP;
  GPIO_InitStruct.Pull = GPIO_NOPULL;
  GPIO_InitStruct.Speed = GPIO_SPEED_FREQ_VERY_HIGH;
  GPIO_InitStruct.Alternate = GPIO_AF12_FMC;
  HAL_GPIO_Init(GPIOD, &GPIO_InitStruct);

  /*Configure GPIO pins : OTG_FS_P_Pin OTG_FS_N_Pin OTG_FS_ID_Pin */
  GPIO_InitStruct.Pin = OTG_FS_P_Pin|OTG_FS_N_Pin|OTG_FS_ID_Pin;
  GPIO_InitStruct.Mode = GPIO_MODE_AF_PP;
  GPIO_InitStruct.Pull = GPIO_NOPULL;
  GPIO_InitStruct.Speed = GPIO_SPEED_FREQ_VERY_HIGH;
  GPIO_InitStruct.Alternate = GPIO_AF10_OTG_FS;
  HAL_GPIO_Init(GPIOA, &GPIO_InitStruct);

  /*Configure GPIO pins : SAI2_MCLKA_Pin SAI2_SCKA_Pin SAI2_FSA_Pin SAI2_SDA_Pin */
  GPIO_InitStruct.Pin = SAI2_MCLKA_Pin|SAI2_SCKA_Pin|SAI2_FSA_Pin|SAI2_SDA_Pin;
  GPIO_InitStruct.Mode = GPIO_MODE_AF_PP;
  GPIO_InitStruct.Pull = GPIO_NOPULL;
  GPIO_InitStruct.Speed = GPIO_SPEED_FREQ_LOW;
  GPIO_InitStruct.Alternate = GPIO_AF10_SAI2;
  HAL_GPIO_Init(GPIOI, &GPIO_InitStruct);

  /*Configure GPIO pins : LCD_DE_Pin LCD_B7_Pin LCD_B6_Pin LCD_B5_Pin
                           LCD_G6_Pin LCD_G7_Pin LCD_G5_Pin */
  GPIO_InitStruct.Pin = LCD_DE_Pin|LCD_B7_Pin|LCD_B6_Pin|LCD_B5_Pin
                          |LCD_G6_Pin|LCD_G7_Pin|LCD_G5_Pin;
  GPIO_InitStruct.Mode = GPIO_MODE_AF_PP;
  GPIO_InitStruct.Pull = GPIO_NOPULL;
  GPIO_InitStruct.Speed = GPIO_SPEED_FREQ_LOW;
  GPIO_InitStruct.Alternate = GPIO_AF14_LTDC;
  HAL_GPIO_Init(GPIOK, &GPIO_InitStruct);

  /*Configure GPIO pin : LCD_B4_Pin */
  GPIO_InitStruct.Pin = LCD_B4_Pin;
  GPIO_InitStruct.Mode = GPIO_MODE_AF_PP;
  GPIO_InitStruct.Pull = GPIO_NOPULL;
  GPIO_InitStruct.Speed = GPIO_SPEED_FREQ_LOW;
  GPIO_InitStruct.Alternate = GPIO_AF9_LTDC;
  HAL_GPIO_Init(LCD_B4_GPIO_Port, &GPIO_InitStruct);

  /*Configure GPIO pin : SAI2_SDB_Pin */
  GPIO_InitStruct.Pin = SAI2_SDB_Pin;
  GPIO_InitStruct.Mode = GPIO_MODE_AF_PP;
  GPIO_InitStruct.Pull = GPIO_NOPULL;
  GPIO_InitStruct.Speed = GPIO_SPEED_FREQ_LOW;
  GPIO_InitStruct.Alternate = GPIO_AF10_SAI2;
  HAL_GPIO_Init(SAI2_SDB_GPIO_Port, &GPIO_InitStruct);

  /*Configure GPIO pin : OTG_FS_PowerSwitchOn_Pin */
  GPIO_InitStruct.Pin = OTG_FS_PowerSwitchOn_Pin;
  GPIO_InitStruct.Mode = GPIO_MODE_OUTPUT_PP;
  GPIO_InitStruct.Pull = GPIO_NOPULL;
  GPIO_InitStruct.Speed = GPIO_SPEED_FREQ_LOW;
  HAL_GPIO_Init(OTG_FS_PowerSwitchOn_GPIO_Port, &GPIO_InitStruct);

  /*Configure GPIO pin : DCMI_D5_Pin */
  GPIO_InitStruct.Pin = DCMI_D5_Pin;
  GPIO_InitStruct.Mode = GPIO_MODE_AF_PP;
  GPIO_InitStruct.Pull = GPIO_NOPULL;
  GPIO_InitStruct.Speed = GPIO_SPEED_FREQ_LOW;
  GPIO_InitStruct.Alternate = GPIO_AF13_DCMI;
  HAL_GPIO_Init(DCMI_D5_GPIO_Port, &GPIO_InitStruct);

  /*Configure GPIO pins : ARDUINO_D7_Pin ARDUINO_D8_Pin LCD_DISP_Pin */
  GPIO_InitStruct.Pin = ARDUINO_D7_Pin|ARDUINO_D8_Pin|LCD_DISP_Pin;
  GPIO_InitStruct.Mode = GPIO_MODE_OUTPUT_PP;
  GPIO_InitStruct.Pull = GPIO_NOPULL;
  GPIO_InitStruct.Speed = GPIO_SPEED_FREQ_LOW;
  HAL_GPIO_Init(GPIOI, &GPIO_InitStruct);

  /*Configure GPIO pin : uSD_Detect_Pin */
  GPIO_InitStruct.Pin = uSD_Detect_Pin;
  GPIO_InitStruct.Mode = GPIO_MODE_INPUT;
  GPIO_InitStruct.Pull = GPIO_NOPULL;
  HAL_GPIO_Init(uSD_Detect_GPIO_Port, &GPIO_InitStruct);

  /*Configure GPIO pins : FMC_A0_Pin FMC_A1_Pin FMC_A2_Pin FMC_A3_Pin
                           FMC_A4_Pin FMC_A5_Pin FMC_A6_Pin FMC_A9_Pin
                           FMC_A7_Pin FMC_A8_Pin FMC_SDNRAS_Pin */
  GPIO_InitStruct.Pin = FMC_A0_Pin|FMC_A1_Pin|FMC_A2_Pin|FMC_A3_Pin
                          |FMC_A4_Pin|FMC_A5_Pin|FMC_A6_Pin|FMC_A9_Pin
                          |FMC_A7_Pin|FMC_A8_Pin|FMC_SDNRAS_Pin;
  GPIO_InitStruct.Mode = GPIO_MODE_AF_PP;
  GPIO_InitStruct.Pull = GPIO_NOPULL;
  GPIO_InitStruct.Speed = GPIO_SPEED_FREQ_VERY_HIGH;
  GPIO_InitStruct.Alternate = GPIO_AF12_FMC;
  HAL_GPIO_Init(GPIOF, &GPIO_InitStruct);

  /*Configure GPIO pins : LCD_HSYNC_Pin LCD_VSYNC_Pin LCD_R0_Pin LCD_CLK_Pin */
  GPIO_InitStruct.Pin = LCD_HSYNC_Pin|LCD_VSYNC_Pin|LCD_R0_Pin|LCD_CLK_Pin;
  GPIO_InitStruct.Mode = GPIO_MODE_AF_PP;
  GPIO_InitStruct.Pull = GPIO_NOPULL;
  GPIO_InitStruct.Speed = GPIO_SPEED_FREQ_LOW;
  GPIO_InitStruct.Alternate = GPIO_AF14_LTDC;
  HAL_GPIO_Init(GPIOI, &GPIO_InitStruct);

  /*Configure GPIO pin : LCD_BL_CTRL_Pin */
  GPIO_InitStruct.Pin = LCD_BL_CTRL_Pin;
  GPIO_InitStruct.Mode = GPIO_MODE_OUTPUT_PP;
  GPIO_InitStruct.Pull = GPIO_NOPULL;
  GPIO_InitStruct.Speed = GPIO_SPEED_FREQ_LOW;
  HAL_GPIO_Init(LCD_BL_CTRL_GPIO_Port, &GPIO_InitStruct);

  /*Configure GPIO pin : DCMI_VSYNC_Pin */
  GPIO_InitStruct.Pin = DCMI_VSYNC_Pin;
  GPIO_InitStruct.Mode = GPIO_MODE_AF_PP;
  GPIO_InitStruct.Pull = GPIO_NOPULL;
  GPIO_InitStruct.Speed = GPIO_SPEED_FREQ_LOW;
  GPIO_InitStruct.Alternate = GPIO_AF13_DCMI;
  HAL_GPIO_Init(DCMI_VSYNC_GPIO_Port, &GPIO_InitStruct);

  /*Configure GPIO pin : OTG_FS_OverCurrent_Pin */
  GPIO_InitStruct.Pin = OTG_FS_OverCurrent_Pin;
  GPIO_InitStruct.Mode = GPIO_MODE_INPUT;
  GPIO_InitStruct.Pull = GPIO_NOPULL;
  HAL_GPIO_Init(OTG_FS_OverCurrent_GPIO_Port, &GPIO_InitStruct);

  /*Configure GPIO pin : SDMMC_D0_Pin */
  GPIO_InitStruct.Pin = SDMMC_D0_Pin;
  GPIO_InitStruct.Mode = GPIO_MODE_AF_PP;
  GPIO_InitStruct.Pull = GPIO_NOPULL;
  GPIO_InitStruct.Speed = GPIO_SPEED_FREQ_VERY_HIGH;
  GPIO_InitStruct.Alternate = GPIO_AF12_SDMMC1;
  HAL_GPIO_Init(SDMMC_D0_GPIO_Port, &GPIO_InitStruct);

  /*Configure GPIO pins : TP3_Pin NC2_Pin */
  GPIO_InitStruct.Pin = TP3_Pin|NC2_Pin;
  GPIO_InitStruct.Mode = GPIO_MODE_INPUT;
  GPIO_InitStruct.Pull = GPIO_NOPULL;
  HAL_GPIO_Init(GPIOH, &GPIO_InitStruct);

  /*Configure GPIO pin : ARDUINO_SCK_D13_Pin */
  GPIO_InitStruct.Pin = ARDUINO_SCK_D13_Pin;
  GPIO_InitStruct.Mode = GPIO_MODE_AF_PP;
  GPIO_InitStruct.Pull = GPIO_NOPULL;
  GPIO_InitStruct.Speed = GPIO_SPEED_FREQ_LOW;
  GPIO_InitStruct.Alternate = GPIO_AF5_SPI2;
  HAL_GPIO_Init(ARDUINO_SCK_D13_GPIO_Port, &GPIO_InitStruct);

  /*Configure GPIO pin : DCMI_PWR_EN_Pin */
  GPIO_InitStruct.Pin = DCMI_PWR_EN_Pin;
  GPIO_InitStruct.Mode = GPIO_MODE_OUTPUT_PP;
  GPIO_InitStruct.Pull = GPIO_NOPULL;
  GPIO_InitStruct.Speed = GPIO_SPEED_FREQ_LOW;
  HAL_GPIO_Init(DCMI_PWR_EN_GPIO_Port, &GPIO_InitStruct);

  /*Configure GPIO pins : DCMI_D4_Pin DCMI_D3_Pin DCMI_D0_Pin DCMI_D2_Pin
                           DCMI_D1_Pin */
  GPIO_InitStruct.Pin = DCMI_D4_Pin|DCMI_D3_Pin|DCMI_D0_Pin|DCMI_D2_Pin
                          |DCMI_D1_Pin;
  GPIO_InitStruct.Mode = GPIO_MODE_AF_PP;
  GPIO_InitStruct.Pull = GPIO_NOPULL;
  GPIO_InitStruct.Speed = GPIO_SPEED_FREQ_LOW;
  GPIO_InitStruct.Alternate = GPIO_AF13_DCMI;
  HAL_GPIO_Init(GPIOH, &GPIO_InitStruct);

  /*Configure GPIO pin : ARDUINO_PWM_CS_D5_Pin */
  GPIO_InitStruct.Pin = ARDUINO_PWM_CS_D5_Pin;
  GPIO_InitStruct.Mode = GPIO_MODE_AF_PP;
  GPIO_InitStruct.Pull = GPIO_NOPULL;
  GPIO_InitStruct.Speed = GPIO_SPEED_FREQ_LOW;
  GPIO_InitStruct.Alternate = GPIO_AF2_TIM5;
  HAL_GPIO_Init(ARDUINO_PWM_CS_D5_GPIO_Port, &GPIO_InitStruct);

  /*Configure GPIO pin : ARDUINO_PWM_D10_Pin */
  GPIO_InitStruct.Pin = ARDUINO_PWM_D10_Pin;
  GPIO_InitStruct.Mode = GPIO_MODE_AF_PP;
  GPIO_InitStruct.Pull = GPIO_NOPULL;
  GPIO_InitStruct.Speed = GPIO_SPEED_FREQ_LOW;
  GPIO_InitStruct.Alternate = GPIO_AF1_TIM1;
  HAL_GPIO_Init(ARDUINO_PWM_D10_GPIO_Port, &GPIO_InitStruct);

  /*Configure GPIO pin : LCD_INT_Pin */
  GPIO_InitStruct.Pin = LCD_INT_Pin;
  GPIO_InitStruct.Mode = GPIO_MODE_EVT_RISING;
  GPIO_InitStruct.Pull = GPIO_NOPULL;
  HAL_GPIO_Init(LCD_INT_GPIO_Port, &GPIO_InitStruct);

  /*Configure GPIO pins : ARDUINO_RX_D0_Pin ARDUINO_TX_D1_Pin */
  GPIO_InitStruct.Pin = ARDUINO_RX_D0_Pin|ARDUINO_TX_D1_Pin;
  GPIO_InitStruct.Mode = GPIO_MODE_AF_PP;
  GPIO_InitStruct.Pull = GPIO_NOPULL;
  GPIO_InitStruct.Speed = GPIO_SPEED_FREQ_VERY_HIGH;
  GPIO_InitStruct.Alternate = GPIO_AF8_USART6;
  HAL_GPIO_Init(GPIOC, &GPIO_InitStruct);

  /*Configure GPIO pin : ULPI_NXT_Pin */
  GPIO_InitStruct.Pin = ULPI_NXT_Pin;
  GPIO_InitStruct.Mode = GPIO_MODE_AF_PP;
  GPIO_InitStruct.Pull = GPIO_NOPULL;
  GPIO_InitStruct.Speed = GPIO_SPEED_FREQ_VERY_HIGH;
  GPIO_InitStruct.Alternate = GPIO_AF10_OTG_HS;
  HAL_GPIO_Init(ULPI_NXT_GPIO_Port, &GPIO_InitStruct);

  /*Configure GPIO pins : FMC_SDNME_Pin FMC_SDNE0_Pin */
  GPIO_InitStruct.Pin = FMC_SDNME_Pin|FMC_SDNE0_Pin;
  GPIO_InitStruct.Mode = GPIO_MODE_AF_PP;
  GPIO_InitStruct.Pull = GPIO_NOPULL;
  GPIO_InitStruct.Speed = GPIO_SPEED_FREQ_VERY_HIGH;
  GPIO_InitStruct.Alternate = GPIO_AF12_FMC;
  HAL_GPIO_Init(GPIOH, &GPIO_InitStruct);

  /*Configure GPIO pins : ARDUINO_D4_Pin ARDUINO_D2_Pin EXT_RST_Pin */
  GPIO_InitStruct.Pin = ARDUINO_D4_Pin|ARDUINO_D2_Pin|EXT_RST_Pin;
  GPIO_InitStruct.Mode = GPIO_MODE_OUTPUT_PP;
  GPIO_InitStruct.Pull = GPIO_NOPULL;
  GPIO_InitStruct.Speed = GPIO_SPEED_FREQ_LOW;
  HAL_GPIO_Init(GPIOG, &GPIO_InitStruct);

  /*Configure GPIO pins : ARDUINO_A4_Pin ARDUINO_A5_Pin ARDUINO_A1_Pin ARDUINO_A2_Pin
                           ARDUINO_A3_Pin */
  GPIO_InitStruct.Pin = ARDUINO_A4_Pin|ARDUINO_A5_Pin|ARDUINO_A1_Pin|ARDUINO_A2_Pin
                          |ARDUINO_A3_Pin;
  GPIO_InitStruct.Mode = GPIO_MODE_ANALOG;
  GPIO_InitStruct.Pull = GPIO_NOPULL;
  HAL_GPIO_Init(GPIOF, &GPIO_InitStruct);

  /*Configure GPIO pin : FMC_SDCKE0_Pin */
  GPIO_InitStruct.Pin = FMC_SDCKE0_Pin;
  GPIO_InitStruct.Mode = GPIO_MODE_AF_PP;
  GPIO_InitStruct.Pull = GPIO_NOPULL;
  GPIO_InitStruct.Speed = GPIO_SPEED_FREQ_VERY_HIGH;
  GPIO_InitStruct.Alternate = GPIO_AF12_FMC;
  HAL_GPIO_Init(FMC_SDCKE0_GPIO_Port, &GPIO_InitStruct);

  /*Configure GPIO pins : ULPI_STP_Pin ULPI_DIR_Pin */
  GPIO_InitStruct.Pin = ULPI_STP_Pin|ULPI_DIR_Pin;
  GPIO_InitStruct.Mode = GPIO_MODE_AF_PP;
  GPIO_InitStruct.Pull = GPIO_NOPULL;
  GPIO_InitStruct.Speed = GPIO_SPEED_FREQ_VERY_HIGH;
  GPIO_InitStruct.Alternate = GPIO_AF10_OTG_HS;
  HAL_GPIO_Init(GPIOC, &GPIO_InitStruct);

  /*Configure GPIO pins : RMII_MDC_Pin RMII_RXD0_Pin RMII_RXD1_Pin */
  GPIO_InitStruct.Pin = RMII_MDC_Pin|RMII_RXD0_Pin|RMII_RXD1_Pin;
  GPIO_InitStruct.Mode = GPIO_MODE_AF_PP;
  GPIO_InitStruct.Pull = GPIO_NOPULL;
  GPIO_InitStruct.Speed = GPIO_SPEED_FREQ_VERY_HIGH;
  GPIO_InitStruct.Alternate = GPIO_AF11_ETH;
  HAL_GPIO_Init(GPIOC, &GPIO_InitStruct);

  /*Configure GPIO pin : PB2 */
  GPIO_InitStruct.Pin = GPIO_PIN_2;
  GPIO_InitStruct.Mode = GPIO_MODE_AF_PP;
  GPIO_InitStruct.Pull = GPIO_NOPULL;
  GPIO_InitStruct.Speed = GPIO_SPEED_FREQ_VERY_HIGH;
  GPIO_InitStruct.Alternate = GPIO_AF9_QUADSPI;
  HAL_GPIO_Init(GPIOB, &GPIO_InitStruct);

  /*Configure GPIO pins : QSPI_D1_Pin QSPI_D3_Pin QSPI_D0_Pin */
  GPIO_InitStruct.Pin = QSPI_D1_Pin|QSPI_D3_Pin|QSPI_D0_Pin;
  GPIO_InitStruct.Mode = GPIO_MODE_AF_PP;
  GPIO_InitStruct.Pull = GPIO_NOPULL;
  GPIO_InitStruct.Speed = GPIO_SPEED_FREQ_VERY_HIGH;
  GPIO_InitStruct.Alternate = GPIO_AF9_QUADSPI;
  HAL_GPIO_Init(GPIOD, &GPIO_InitStruct);

  /*Configure GPIO pin : RMII_RXER_Pin */
  GPIO_InitStruct.Pin = RMII_RXER_Pin;
  GPIO_InitStruct.Mode = GPIO_MODE_INPUT;
  GPIO_InitStruct.Pull = GPIO_NOPULL;
  HAL_GPIO_Init(RMII_RXER_GPIO_Port, &GPIO_InitStruct);

  /*Configure GPIO pins : RMII_REF_CLK_Pin RMII_MDIO_Pin RMII_CRS_DV_Pin */
  GPIO_InitStruct.Pin = RMII_REF_CLK_Pin|RMII_MDIO_Pin|RMII_CRS_DV_Pin;
  GPIO_InitStruct.Mode = GPIO_MODE_AF_PP;
  GPIO_InitStruct.Pull = GPIO_NOPULL;
  GPIO_InitStruct.Speed = GPIO_SPEED_FREQ_VERY_HIGH;
  GPIO_InitStruct.Alternate = GPIO_AF11_ETH;
  HAL_GPIO_Init(GPIOA, &GPIO_InitStruct);

  /*Configure GPIO pin : ARDUINO_A0_Pin */
  GPIO_InitStruct.Pin = ARDUINO_A0_Pin;
  GPIO_InitStruct.Mode = GPIO_MODE_ANALOG;
  GPIO_InitStruct.Pull = GPIO_NOPULL;
  HAL_GPIO_Init(ARDUINO_A0_GPIO_Port, &GPIO_InitStruct);

  /*Configure GPIO pins : DCMI_HSYNC_Pin PA6 */
  GPIO_InitStruct.Pin = DCMI_HSYNC_Pin|GPIO_PIN_6;
  GPIO_InitStruct.Mode = GPIO_MODE_AF_PP;
  GPIO_InitStruct.Pull = GPIO_NOPULL;
  GPIO_InitStruct.Speed = GPIO_SPEED_FREQ_LOW;
  GPIO_InitStruct.Alternate = GPIO_AF13_DCMI;
  HAL_GPIO_Init(GPIOA, &GPIO_InitStruct);

  /*Configure GPIO pins : LCD_SCL_Pin LCD_SDA_Pin */
  GPIO_InitStruct.Pin = LCD_SCL_Pin|LCD_SDA_Pin;
  GPIO_InitStruct.Mode = GPIO_MODE_AF_OD;
  GPIO_InitStruct.Pull = GPIO_NOPULL;
  GPIO_InitStruct.Speed = GPIO_SPEED_FREQ_VERY_HIGH;
  GPIO_InitStruct.Alternate = GPIO_AF4_I2C3;
  HAL_GPIO_Init(GPIOH, &GPIO_InitStruct);

  /*Configure GPIO pins : ULPI_CLK_Pin ULPI_D0_Pin */
  GPIO_InitStruct.Pin = ULPI_CLK_Pin|ULPI_D0_Pin;
  GPIO_InitStruct.Mode = GPIO_MODE_AF_PP;
  GPIO_InitStruct.Pull = GPIO_NOPULL;
  GPIO_InitStruct.Speed = GPIO_SPEED_FREQ_VERY_HIGH;
  GPIO_InitStruct.Alternate = GPIO_AF10_OTG_HS;
  HAL_GPIO_Init(GPIOA, &GPIO_InitStruct);

  /*Configure GPIO pin : ARDUINO_PWM_D6_Pin */
  GPIO_InitStruct.Pin = ARDUINO_PWM_D6_Pin;
  GPIO_InitStruct.Mode = GPIO_MODE_AF_PP;
  GPIO_InitStruct.Pull = GPIO_NOPULL;
  GPIO_InitStruct.Speed = GPIO_SPEED_FREQ_LOW;
  GPIO_InitStruct.Alternate = GPIO_AF9_TIM12;
  HAL_GPIO_Init(ARDUINO_PWM_D6_GPIO_Port, &GPIO_InitStruct);

  /*Configure GPIO pins : ARDUINO_MISO_D12_Pin ARDUINO_MOSI_PWM_D11_Pin */
  GPIO_InitStruct.Pin = ARDUINO_MISO_D12_Pin|ARDUINO_MOSI_PWM_D11_Pin;
  GPIO_InitStruct.Mode = GPIO_MODE_AF_PP;
  GPIO_InitStruct.Pull = GPIO_NOPULL;
  GPIO_InitStruct.Speed = GPIO_SPEED_FREQ_LOW;
  GPIO_InitStruct.Alternate = GPIO_AF5_SPI2;
  HAL_GPIO_Init(GPIOB, &GPIO_InitStruct);

}

void Error_Handler(void)
{
  __disable_irq();
  while (1)
  {
  }
}
